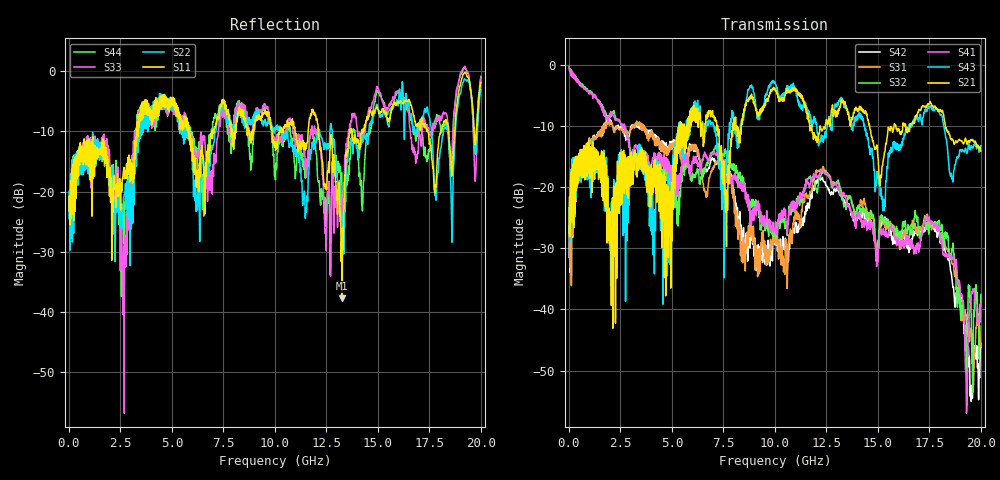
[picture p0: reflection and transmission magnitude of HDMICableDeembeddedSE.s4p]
! File created by SignalIntegrity v1.1.8: Signal and Power Integrity Tools
! https://github.com/TeledyneLeCroy/SignalIntegrity
# MHz MA S R 50.0
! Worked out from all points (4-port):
!   2000 points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, 10 MHz to 20 GHz, reference 50 ohm
!   strongest paths, dB at 10 MHz, 5.01 GHz, 10.01 GHz, 15.01 GHz, 20 GHz:
!     S21: -27.6, -28.8, -4.0, -15.4, -14.1
!     S43: -27.7, -21.7, -3.0, -17.9, -13.3
!     S41: -0.2, -18.5, -26.9, -31.3, -38.9
!     S32: -0.4, -21.0, -27.2, -29.3, -37.5
!     S31: -28.2, -13.2, -29.1, -29.2, -46.1
!     S42: -31.5, -13.3, -29.2, -30.5, -46.2
!   lowest |S11| = -37.8 dB at 13.26 GHz (marker M1), VSWR 1.03, Z = 50.6 - j1.15 ohm
!   |S11| at or under -10 dB: start of sweep to 3.297 GHz; 5.852 GHz to 6.935 GHz (1.083 GHz wide, 16.9 % of centre); 12.11 GHz to 13.62 GHz (1.512 GHz wide, 11.8 % of centre)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
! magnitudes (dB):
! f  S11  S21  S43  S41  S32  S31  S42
! 10 MHz  -23.2  -27.6  -27.7  -0.2  -0.4  -28.2  -31.5
! 1.92 GHz  -17.5  -27.2  -26.0  -8.7  -8.5  -9.5  -9.0
! 2.67 GHz  -16.0  -15.6  -17.1  -10.5  -10.4  -10.9  -10.7
! 3.53 GHz  -8.1  -13.5  -14.0  -14.0  -15.7  -9.6  -10.0
! 7.47 GHz  -5.4  -17.0  -18.3  -15.6  -14.6  -18.7  -17.8
! 13.26 GHz  -37.8  -5.7  -5.6  -21.1  -21.6  -21.9  -22.0
! 20 GHz  -1.8  -14.1  -13.3  -38.9  -37.5  -46.1  -46.2
